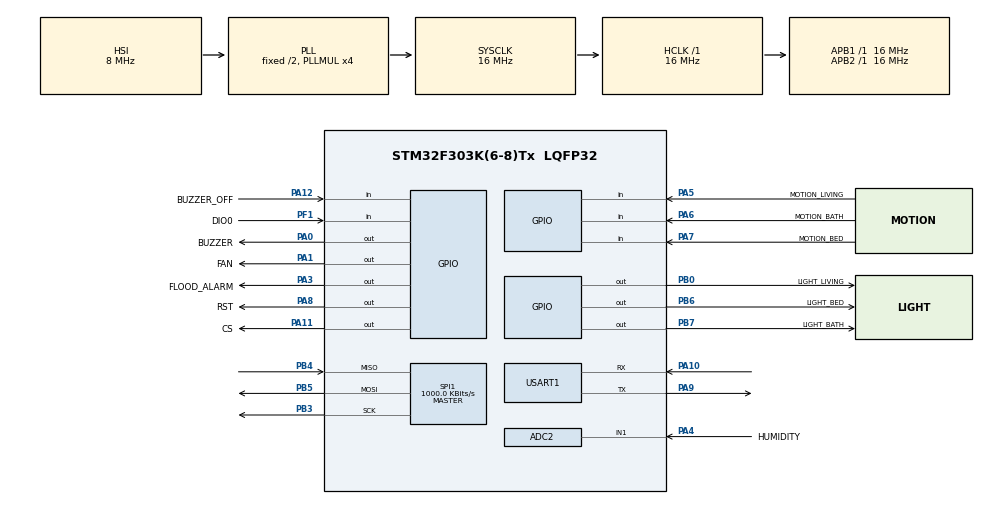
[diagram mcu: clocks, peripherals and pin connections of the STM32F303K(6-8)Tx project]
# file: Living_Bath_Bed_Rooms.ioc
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ADC2.Channel-0\#ChannelRegularConversion=ADC_CHANNEL_1
ADC2.NbrOfConversionFlag=1
ADC2.Offset-0\#ChannelRegularConversion=0
ADC2.OffsetNumber-0\#ChannelRegularConversion=ADC_OFFSET_NONE
ADC2.Rank-0\#ChannelRegularConversion=1
ADC2.Resolution=ADC_RESOLUTION_8B
ADC2.SamplingTime-0\#ChannelRegularConversion=ADC_SAMPLETIME_2CYCLES_5
ADC2.SamplingTimeOPAMP-0\#ChannelRegularConversion=ADC_SAMPLETIME_7CYCLES_5
ADC2.SubFamily=STM32F303x8
FREERTOS.HEAP_NUMBER=4
FREERTOS.INCLUDE_xQueueGetMutexHolder=0
FREERTOS.Tasks01=defaultTask,24,128,StartDefaultTask,Default,NULL,Dynamic,NULL,NULL
FREERTOS.configTIMER_TASK_STACK_DEPTH=256
FREERTOS.configTOTAL_HEAP_SIZE=5200
FREERTOS.configUSE_NEWLIB_REENTRANT=0
FREERTOS.copyHeapFile=1
Mcu.Family=STM32F3
Mcu.Name=STM32F303K(6-8)Tx
Mcu.Package=LQFP32
NVIC.PriorityGroup=NVIC_PRIORITYGROUP_4
PA0.GPIO_Label=BUZZER
PA0.Signal=GPIO_Output
PA1.GPIO_Label=FAN
PA1.Signal=GPIO_Output
PA10.Mode=Asynchronous
PA10.Signal=USART1_RX
PA11.GPIO_Label=CS
PA11.Signal=GPIO_Output
PA12.GPIO_Label=BUZZER_OFF
PA12.GPIO_Mode=GPIO_MODE_INPUT
PA12.GPIO_PuPd=GPIO_PULLUP
PA12.Signal=GPIO_Input
PA3.GPIO_Label=FLOOD_ALARM
PA3.Signal=GPIO_Output
PA4.GPIO_Label=HUMIDITY
PA4.Mode=IN1-Single-Ended
PA4.Signal=ADC2_IN1
PA5.GPIO_Label=MOTION_LIVING
PA5.GPIO_Mode=GPIO_MODE_INPUT
PA5.GPIO_PuPd=GPIO_PULLUP
PA5.Signal=GPIO_Input
PA6.GPIO_Label=MOTION_BATH
PA6.GPIO_Mode=GPIO_MODE_INPUT
PA6.GPIO_PuPd=GPIO_PULLUP
PA6.Signal=GPIO_Input
PA7.GPIO_Label=MOTION_BED
PA7.GPIO_Mode=GPIO_MODE_INPUT
PA7.GPIO_PuPd=GPIO_PULLUP
PA7.Signal=GPIO_Input
PA8.GPIO_Label=RST
PA8.Signal=GPIO_Output
PA9.Mode=Asynchronous
PA9.Signal=USART1_TX
PB0.GPIO_Label=LIGHT_LIVING
PB0.Signal=GPIO_Output
PB3.Mode=Full_Duplex_Master
PB3.Signal=SPI1_SCK
PB4.Mode=Full_Duplex_Master
PB4.Signal=SPI1_MISO
PB5.Mode=Full_Duplex_Master
PB5.Signal=SPI1_MOSI
PB6.GPIO_Label=LIGHT_BED
PB6.Signal=GPIO_Output
PB7.GPIO_Label=LIGHT_BATH
PB7.Signal=GPIO_Output
PF1\ /\ OSC_OUT.GPIO_Label=DIO0
PF1\ /\ OSC_OUT.GPIO_PuPd=GPIO_PULLUP
PF1\ /\ OSC_OUT.Signal=GPIO_Input
ProjectManager.HeapSize=0x200
ProjectManager.StackSize=0x400
ProjectManager.TargetToolchain=STM32CubeIDE
RCC.AHBFreq_Value=16000000
RCC.APB1Freq_Value=16000000
RCC.APB1TimFreq_Value=16000000
RCC.APB2Freq_Value=16000000
RCC.APB2TimFreq_Value=16000000
RCC.CortexFreq_Value=16000000
RCC.HCLKFreq_Value=16000000
RCC.HSE_VALUE=8000000
RCC.HSI_VALUE=8000000
RCC.PLLMUL=RCC_PLL_MUL4
RCC.SYSCLKFreq_VALUE=16000000
RCC.SYSCLKSourceVirtual=RCC_SYSCLKSOURCE_PLLCLK
SPI1.BaudRatePrescaler=SPI_BAUDRATEPRESCALER_16
SPI1.CalculateBaudRate=1000.0 KBits/s
SPI1.DataSize=SPI_DATASIZE_8BIT
SPI1.Direction=SPI_DIRECTION_2LINES
SPI1.Mode=SPI_MODE_MASTER
SPI1.VirtualType=VM_MASTER
USART1.VirtualMode-Asynchronous=VM_ASYNC
VP_FREERTOS_VS_CMSIS_V2.Mode=CMSIS_V2
VP_TIM6_VS_ClockSourceINT.Mode=Enable_Timer
board=custom

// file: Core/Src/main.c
/* USER CODE BEGIN Header */
/**
  ******************************************************************************
  * @file           : main.c
  * @brief          : Main program body
  ******************************************************************************
  * @attention
  *
  * <h2><center>&copy; Copyright (c) 2021 STMicroelectronics.
  * All rights reserved.</center></h2>
  *
  * This software component is licensed by ST under BSD 3-Clause license,
  * the "License"; You may not use this file except in compliance with the
  * License. You may obtain a copy of the License at:
  *                        opensource.org/licenses/BSD-3-Clause
  *
  ******************************************************************************
  */
/* USER CODE END Header */
#include "main.h"
#include "cmsis_os.h"
#include "adc.h"
#include "spi.h"
#include "tim.h"
#include "usart.h"
#include "gpio.h"

/* USER CODE BEGIN Includes */

#include <stdio.h>
#include <string.h>
#include <semphr.h>
#include "FreeRTOS.h"
#include "task.h"
#include "LoRa.h"

/* USER CODE END Includes */

/* USER CODE BEGIN PD */

#define TEMP_THRESHOLD 24
#define HUMID_THRESHOLD 80

#define STM32F303K8_DEVICE 0x03

/* USER CODE END PD */

/* USER CODE BEGIN PV */

// -------------------------------------
// Task handlers

xTaskHandle light_liv_handle;
xTaskHandle light_bed_handle;
xTaskHandle light_bath_handle;
xTaskHandle light_fl_handle;
xTaskHandle light_alarm_handle;
xTaskHandle radio_module_handle;
xTaskHandle fan_handle;
xTaskHandle tx_handle;
xTaskHandle rx_handle;

// -------------------------------------
// Boolean variables

uint8_t isLivingroomEmpty=0;
uint8_t isBathroomEmpty=0;
uint8_t isBedroomEmpty=0;
uint8_t isFlood=0;
uint8_t isAlarmOn=0;
uint8_t isAlarmOff=0;

// -------------------------------------
// Variables related with temperature and humidity

uint8_t temperature=0;

uint8_t humidity_measure=0;
uint8_t humidity=0;

// -------------------------------------
// Variables related with data and time

uint8_t hours=-1;
uint8_t minutes=-1;
uint8_t day=-1;
uint8_t month=-1;

uint8_t alarm_hours=0;
uint8_t alarm_minutes=0;
uint8_t alarm_day=0;
uint8_t alarm_month=0;

// -------------------------------------
// Transmit and receive buffor

// -------------------------------------
// tx_frame : | device | humidity | livingroom | bathroom | bedroom | alarm switch-off | alarm active |  fan  |
//				  8bit      8bit	   	1bit		1bit		1bit		  1bit				1bit	 1bit

uint8_t tx_frame[3] = { 0x03 , 0x00 , 0b00000000 };
uint8_t rx_frame[15]= {0 ,0 ,0 ,0 ,0 ,0 ,0 ,0 ,0 ,0 ,0 ,0 ,0 ,0 ,0};

char tx_test[256] = "TEST FreeRTOS 303!      ";

// Continuous updatable time buffor
uint8_t buffor[8] = {0,1,2,3,4,5,6,7};

// Current time send
uint8_t real_time[8] = { 1 , 21 , 7 , 3 , 13 , 20 , 0 ,2};

//static SemaphoreHandle_t mutex;

/* USER CODE END PV */

void SystemClock_Config(void);
void MX_FREERTOS_Init(void);
/* USER CODE BEGIN PFP */
void light_livingroom   (void *pvParameters);
void light_bathroom   	(void *pvParameters);
void light_bedroom   	(void *pvParameters);
void ceiling_fan		(void *pvParameters);
void flood_protection 	(void *pvParameters);
void alarm_clock		(void *pvParameters);
void radio_module		(void *pvParameters);

void TX_radio		(void *pvParameters);
void RX_radio		(void *pvParameters);

/* USER CODE END PFP */

/* USER CODE BEGIN 0 */

void light_livingroom   (void *pvParameters){
	while(1){

		isLivingroomEmpty = HAL_GPIO_ReadPin(MOTION_LIVING_GPIO_Port, MOTION_LIVING_Pin);

		if( !isLivingroomEmpty ){
			HAL_GPIO_WritePin(LIGHT_LIVING_GPIO_Port, LIGHT_LIVING_Pin, GPIO_PIN_SET);
			tx_frame[2] = tx_frame[2] | (1<<5);
		}
		else{
			HAL_GPIO_WritePin(LIGHT_LIVING_GPIO_Port, LIGHT_LIVING_Pin, GPIO_PIN_RESET);
			tx_frame[2] = tx_frame[2] & ~(1<<5);
		}
		vTaskDelay( 10 / portTICK_PERIOD_MS);
	}
	vTaskDelete(NULL);
}
int a=0;
void light_bathroom   	(void *pvParameters){
	while(1){

		isBathroomEmpty = HAL_GPIO_ReadPin(MOTION_BATH_GPIO_Port, MOTION_BATH_Pin);

		if( !isBathroomEmpty ){
			HAL_GPIO_WritePin(LIGHT_BATH_GPIO_Port, LIGHT_BATH_Pin, GPIO_PIN_SET);
			tx_frame[2] = tx_frame[2] | (1<<4);
		}
		else{
			HAL_GPIO_WritePin(LIGHT_BATH_GPIO_Port, LIGHT_BATH_Pin, GPIO_PIN_RESET);
			tx_frame[2] = tx_frame[2] & ~(1<<4);
		}
		vTaskDelay( 10 / portTICK_PERIOD_MS);
	}
	vTaskDelete(NULL);
}

void light_bedroom   	(void *pvParameters){
	while(1){

		isBedroomEmpty = HAL_GPIO_ReadPin(MOTION_BED_GPIO_Port, MOTION_BED_Pin);

		if( !isBedroomEmpty ){
			HAL_GPIO_WritePin(LIGHT_BED_GPIO_Port, LIGHT_BED_Pin, GPIO_PIN_SET);
			tx_frame[2] = tx_frame[2] | (1<<3);
		}
		else{
			HAL_GPIO_WritePin(LIGHT_BED_GPIO_Port, LIGHT_BED_Pin, GPIO_PIN_RESET);
			tx_frame[2] = tx_frame[2] & ~(1<<3);
		}
		vTaskDelay( 10 / portTICK_PERIOD_MS);
	}
	vTaskDelete(NULL);
}

void ceiling_fan 	 	(void *pvParameters){
	while(1){
		if( temperature > TEMP_THRESHOLD ){
			HAL_GPIO_WritePin(FAN_GPIO_Port, FAN_Pin, GPIO_PIN_SET);
			tx_frame[2] = tx_frame[2] | 1;
		}
		else{
			HAL_GPIO_WritePin(FAN_GPIO_Port, FAN_Pin, GPIO_PIN_RESET);
			tx_frame[2] = tx_frame[2] & ~1;
		}

		vTaskDelay( 10 / portTICK_PERIOD_MS);
	}
	vTaskDelete(NULL);
}

void flood_protection 	(void *pvParameters){
	while(1){
		  HAL_ADC_Start(&hadc2);
		  vTaskDelay( 10 / portTICK_PERIOD_MS);

		  //humidity_measure = HAL_ADC_GetValue(&hadc2);
		  humidity = (HAL_ADC_GetValue(&hadc2) * 70)/113 + 20;

		  if(humidity > 90)
			  humidity = 90;

		  if( humidity >= 50)
			HAL_GPIO_WritePin(FLOOD_ALARM_GPIO_Port, FLOOD_ALARM_Pin, GPIO_PIN_SET);
		  else
			HAL_GPIO_WritePin(FLOOD_ALARM_GPIO_Port, FLOOD_ALARM_Pin, GPIO_PIN_RESET);

//		if( rx_frame[0] == 0x02){
//			printf("STM32F411 data = %d - %d - %d - %d \r\n" , rx_frame[4], rx_frame[5], rx_frame[8], rx_frame[7]);
//			printf("alarm = %d - %d - %d - %d\r\n" , alarm_day, alarm_month, alarm_hours, alarm_minutes);
//		}
	}
	vTaskDelete(NULL);
}

void alarm_clock		(void *pvParameters){
	while(1){

		if( 	!isAlarmOff
				&& day == alarm_day
				&& month == alarm_month
				&& hours == alarm_hours
				&& minutes == alarm_minutes
				&& HAL_GPIO_ReadPin(BUZZER_OFF_GPIO_Port, BUZZER_OFF_Pin) != GPIO_PIN_RESET){

			HAL_GPIO_WritePin(BUZZER_GPIO_Port, BUZZER_Pin, GPIO_PIN_SET);
			tx_frame[2] = tx_frame[2] | (1<<1);
			isAlarmOn=1;
		}
		if(		day != alarm_day
				&& month != alarm_month
				&& hours != alarm_hours
				&& minutes != alarm_minutes
				){
			isAlarmOff=0;
			tx_frame[2] = tx_frame[2] & ~(1<<2);
		}

		if( isAlarmOn && HAL_GPIO_ReadPin(BUZZER_OFF_GPIO_Port, BUZZER_OFF_Pin) == GPIO_PIN_RESET ){
			HAL_GPIO_WritePin(BUZZER_GPIO_Port, BUZZER_Pin, GPIO_PIN_RESET);
			tx_frame[2] = tx_frame[2] | (1<<2);
			tx_frame[2] = tx_frame[2] & ~(1<<1);
			isAlarmOff = 1;
			isAlarmOn  = 0;

			alarm_day=0;
			alarm_month=0;
			alarm_hours=0;
			alarm_minutes=0;

			vTaskDelay( 200 / portTICK_PERIOD_MS);
//			alarm_off=0;
		}

		vTaskDelay( 10 / portTICK_PERIOD_MS);
	}
	vTaskDelete(NULL);
}

void TX_radio(void *pvParameters){
	vTaskDelay(30 / portTICK_PERIOD_MS);
	uint32_t time=0;
	while(1){

		tx_frame[1] = humidity;
		time = HAL_GetTick();
		while( HAL_GetTick() - time < 5 ){
			Transmit(tx_frame, sizeof(tx_frame));
		}

//		HAL_GPIO_WritePin(LIGHT_BATH_GPIO_Port, LIGHT_BATH_Pin, GPIO_PIN_SET);

		vTaskResume(rx_handle);
		vTaskSuspend( NULL );
		vTaskDelay( 1/ portTICK_PERIOD_MS);
	}
	vTaskDelete(NULL);
}

void RX_radio(void *pvParameters){
	uint32_t time=0;
	set_OPMODE(OPMODE_RX);
	while(1){
		vTaskSuspend(tx_handle);

		set_OPMODE(OPMODE_RX);
		while(	HAL_GPIO_ReadPin(DIO0_GPIO_Port, DIO0_Pin) != GPIO_PIN_SET){
//			printf("Waiting \r\n");
		}

		if( HAL_GPIO_ReadPin(DIO0_GPIO_Port, DIO0_Pin) == GPIO_PIN_SET ){
			Receive(rx_frame);

			if( rx_frame[0] == 0x02 ){
				day=rx_frame[7];
				month=rx_frame[8];
				hours=rx_frame[4];
				minutes=rx_frame[5];

				temperature=rx_frame[3];
				printf("\nSTM32F411 data = %d - %d - %d - %d \r\n" , rx_frame[4], rx_frame[5], rx_frame[8], rx_frame[7]);

			}

			if( rx_frame[0] == 0x01 && rx_frame[1] == STM32F303K8_DEVICE){

				if( !isAlarmOff){
					alarm_day=rx_frame[2];
					alarm_month=rx_frame[3];
					alarm_hours=rx_frame[4];
					alarm_minutes=rx_frame[5];
				}

				vTaskResume(tx_handle);
				vTaskSuspend( NULL );

				Write_Reg(REG_HOP_PERIOD,0x00);
				Write_Reg(RegDioMapping1, MAP_DIO0_LORA_RXDONE|MAP_DIO1_LORA_NOP|MAP_DIO2_LORA_NOP);
				Write_Reg(REG_IRQ_FLAGS, 0xFF);
				Write_Reg(REG_IRQ_FLAGS_MASK, ~IRQ_LORA_RXDONE_MASK);
				Write_Reg(REG_FIFO_RX_BASE_AD, 0x00);
				Write_Reg(REG_FIFO_ADDR_PTR, 0x00);

				printf("alarm = %d - %d - %d - %d\r\n\n" , alarm_day, alarm_month, alarm_hours, alarm_minutes);
			}
		}
		else{
			printf("No carrier found. \r\n");
		}
		rx_frame[0]=0x00;
		rx_frame[1]=0x00;

		vTaskDelay(5 / portTICK_PERIOD_MS);
	}
	vTaskDelete(NULL);
}

/* USER CODE END 0 */

int main(void)
{

  /* MCU Configuration--------------------------------------------------------*/

  /* Reset of all peripherals, Initializes the Flash interface and the Systick. */
  HAL_Init();

  /* Configure the system clock */
  SystemClock_Config();

  /* Initialize all configured peripherals */
  MX_GPIO_Init();
  MX_SPI1_Init();
  MX_ADC2_Init();
  MX_USART1_UART_Init();
  MX_TIM6_Init();
  /* USER CODE BEGIN 2 */

  // Start ADC
  HAL_ADC_Start(&hadc2);

  // Buzzer OFF
  HAL_GPIO_WritePin(BUZZER_GPIO_Port, BUZZER_Pin, GPIO_PIN_RESET);

  // Setting up LoRa
  LoRa_init(868);
  tx_frame[0] = STM32F303K8_DEVICE;

  xTaskCreate( flood_protection , "FLOOD_PROTECTION_TASK"	, 180, NULL, 1, &light_fl_handle );
  xTaskCreate( TX_radio			, "RADIO_TRANSMIT_TASK"		, 150, NULL, 1, &tx_handle );
  xTaskCreate( RX_radio			, "RADIO_RECEIVE_TASK"		, 250, NULL, 1, &rx_handle );

  xTaskCreate( alarm_clock		, "ALARM_CLOCK_TASK"		, 90, NULL, 1, &light_alarm_handle );
  xTaskCreate( ceiling_fan		, "CEILING_FAN_TASK" 		, 90, NULL, 1, &fan_handle );

  xTaskCreate( light_livingroom	, "LIGHT_LIVINGROOM_TASK"	, 70, NULL, 1, &light_liv_handle );
  xTaskCreate( light_bathroom	, "LIGHT_BATHROOM_TASK"		, 70, NULL, 1, &light_bath_handle );
  xTaskCreate( light_bedroom	, "LIGHT_BEDROOM_TASK"		, 70, NULL, 1, &light_bed_handle );

  vTaskStartScheduler();

  /* USER CODE END 2 */

  /* Init scheduler */
  osKernelInitialize();  /* Call init function for freertos objects (in freertos.c) */
  MX_FREERTOS_Init();
  /* Start scheduler */
  osKernelStart();

  /* We should never get here as control is now taken by the scheduler */
  /* Infinite loop */
  /* USER CODE BEGIN WHILE */

  while (1)
  {
	vTaskDelay( 2 / portTICK_PERIOD_MS);

    /* USER CODE END WHILE */

  }
}

void SystemClock_Config(void)
{
  RCC_OscInitTypeDef RCC_OscInitStruct = {0};
  RCC_ClkInitTypeDef RCC_ClkInitStruct = {0};
  RCC_PeriphCLKInitTypeDef PeriphClkInit = {0};

  /** Initializes the RCC Oscillators according to the specified parameters
  * in the RCC_OscInitTypeDef structure.
  */
  RCC_OscInitStruct.OscillatorType = RCC_OSCILLATORTYPE_HSI;
  RCC_OscInitStruct.HSIState = RCC_HSI_ON;
  RCC_OscInitStruct.HSICalibrationValue = RCC_HSICALIBRATION_DEFAULT;
  RCC_OscInitStruct.PLL.PLLState = RCC_PLL_ON;
  RCC_OscInitStruct.PLL.PLLSource = RCC_PLLSOURCE_HSI;
  RCC_OscInitStruct.PLL.PLLMUL = RCC_PLL_MUL4;
  if (HAL_RCC_OscConfig(&RCC_OscInitStruct) != HAL_OK)
  {
    Error_Handler();
  }
  /** Initializes the CPU, AHB and APB buses clocks
  */
  RCC_ClkInitStruct.ClockType = RCC_CLOCKTYPE_HCLK|RCC_CLOCKTYPE_SYSCLK
                              |RCC_CLOCKTYPE_PCLK1|RCC_CLOCKTYPE_PCLK2;
  RCC_ClkInitStruct.SYSCLKSource = RCC_SYSCLKSOURCE_PLLCLK;
  RCC_ClkInitStruct.AHBCLKDivider = RCC_SYSCLK_DIV1;
  RCC_ClkInitStruct.APB1CLKDivider = RCC_HCLK_DIV1;
  RCC_ClkInitStruct.APB2CLKDivider = RCC_HCLK_DIV1;

  if (HAL_RCC_ClockConfig(&RCC_ClkInitStruct, FLASH_LATENCY_0) != HAL_OK)
  {
    Error_Handler();
  }
  PeriphClkInit.PeriphClockSelection = RCC_PERIPHCLK_USART1|RCC_PERIPHCLK_ADC12;
  PeriphClkInit.Usart1ClockSelection = RCC_USART1CLKSOURCE_PCLK1;
  PeriphClkInit.Adc12ClockSelection = RCC_ADC12PLLCLK_DIV1;
  if (HAL_RCCEx_PeriphCLKConfig(&PeriphClkInit) != HAL_OK)
  {
    Error_Handler();
  }
}

void Error_Handler(void)
{
  __disable_irq();
  while (1)
  {
  }
}

/************************ (C) COPYRIGHT STMicroelectronics *****END OF FILE****/
